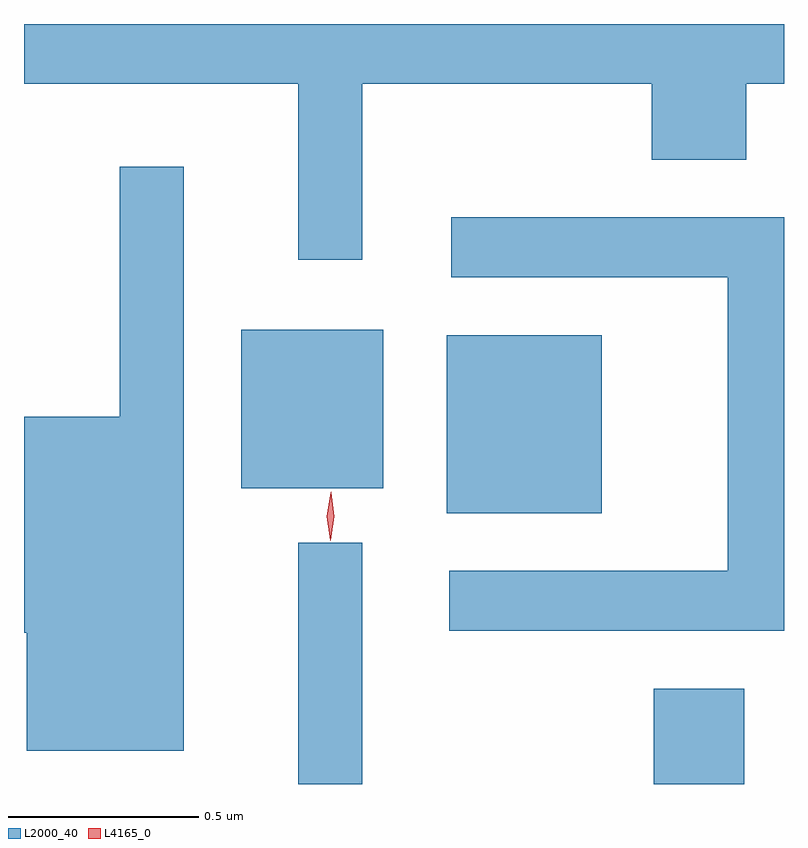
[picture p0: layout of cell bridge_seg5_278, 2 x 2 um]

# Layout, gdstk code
import gdstk
lib = gdstk.Library(unit=1e-6, precision=1e-09)
def R(c, l, rs):  # rectangles x0, y0, x1, y1
    for r in rs: c.add(gdstk.rectangle(r[:2], r[2:], *l))
def P(c, l, *ps):  # polygons
    for p in ps: c.add(gdstk.Polygon(p, *l))
L2000_40 = (2000, 40)
L4165_0 = (4165, 0)

bridge_seg5_278 = lib.new_cell('bridge_seg5_278')
R(bridge_seg5_278, L2000_40, [(952.311,1523.773,952.479,1524.408), (953.246,1523.773,953.484,1524.024), (952.701,1524.486,953.109,1524.954), (952.161,1524.551,952.534,1524.969)])
P(bridge_seg5_278, L2000_40, [(952.479,1525.616),(953.241,1525.616),(953.241,1525.416),(953.489,1525.416),(953.489,1525.616),(953.589,1525.616),(953.589,1525.773),(951.589,1525.773),(951.589,1525.616),(952.311,1525.616),(952.311,1525.153),(952.479,1525.153)],
  [(952.009,1525.398),(951.841,1525.398),(951.841,1524.739),(951.589,1524.739),(951.589,1524.171),(951.596,1524.171),(951.596,1523.861),(952.009,1523.861)],
  [(953.589,1525.264),(952.713,1525.264),(952.713,1525.106),(953.441,1525.106),(953.441,1524.334),(952.708,1524.334),(952.708,1524.176),(953.589,1524.176)])
P(bridge_seg5_278, L4165_0, [(952.395,1524.413),(952.395,1524.414),(952.386,1524.477),(952.396,1524.541),(952.397,1524.542),(952.397,1524.541),(952.406,1524.477),(952.396,1524.414)])

lib.write_gds('bridge_seg5_278.gds')
